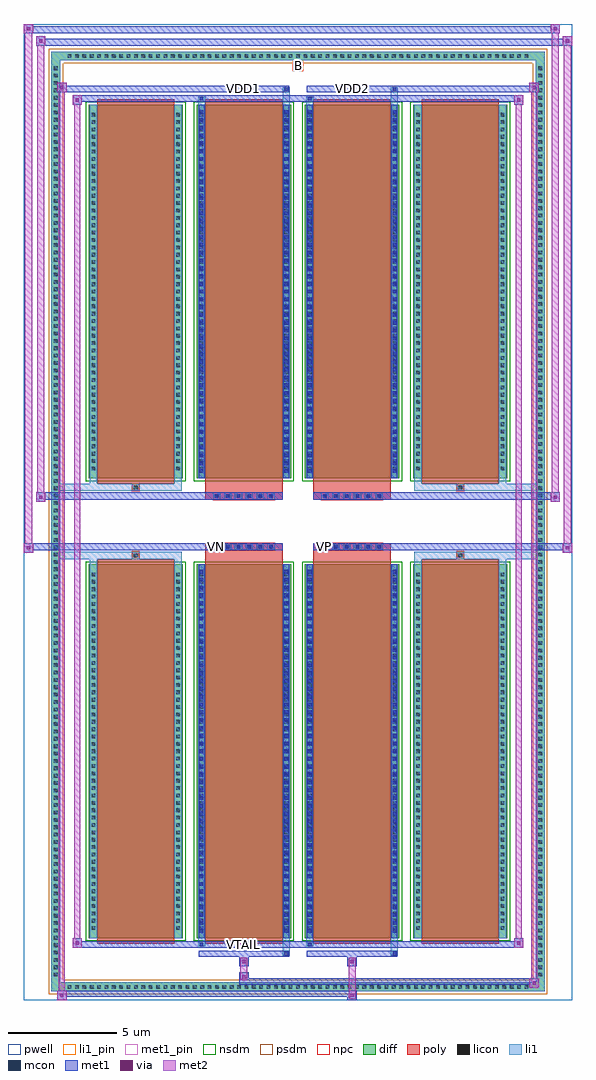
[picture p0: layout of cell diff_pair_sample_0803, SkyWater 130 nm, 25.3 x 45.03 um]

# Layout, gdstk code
import gdstk
lib = gdstk.Library(unit=1e-6, precision=5e-09)
def R(c, l, rs):  # rectangles x0, y0, x1, y1
    for r in rs: c.add(gdstk.rectangle(r[:2], r[2:], *l))
def A(c, l, x, y, w, h, nx, ny, dx, dy):  # array of equal rectangles
    R(c, l, [(x+i*dx, y+j*dy, x+i*dx+w, y+j*dy+h) for i in range(nx) for j in range(ny)])
def P(c, l, *ps):  # polygons
    for p in ps: c.add(gdstk.Polygon(p, *l))
pwell = (64, 44)
diff = (65, 20)
poly = (66, 20)
licon = (66, 44)
li1_pin = (67, 16)
li1 = (67, 20)
mcon = (67, 44)
met1_pin = (68, 16)
met1 = (68, 20)
via = (68, 44)
met2 = (69, 20)
nsdm = (93, 44)
psdm = (94, 20)
npc = (95, 20)

diff_pair_sample_0803 = lib.new_cell('diff_pair_sample_0803')
R(diff_pair_sample_0803, pwell, [(-12.65,-22.08,12.65,22.95), (-9.97,-20.27,-0.01,-0.805), (0.01,-20.27,9.97,-0.805), (-9.97,0.805,-0.01,20.27), (0.01,0.805,9.97,20.27)])
A(diff_pair_sample_0803, diff, -10.745, -21.68, 0.41, 0.41, 63, 2, 0.34, 42.95)
A(diff_pair_sample_0803, diff, -11.38, -21.115, 0.41, 0.41, 1, 124, 0, 0.34)
A(diff_pair_sample_0803, diff, 10.97, -21.115, 0.41, 0.41, 1, 124, 0, 0.34)
A(diff_pair_sample_0803, diff, -9.66, -19.225, 4.35, 17.24, 4, 2, 4.99, 21.21)
R(diff_pair_sample_0803, diff, [(-10.745,-21.68,10.745,-21.27), (-11.38,-21.115,-10.97,21.115), (10.97,-21.115,11.38,21.115), (-10.745,21.27,10.745,21.68)])
P(diff_pair_sample_0803, diff, [(11.38,21.68),(-11.38,21.68),(-11.38,-21.27),(-10.97,-21.27),(-10.97,21.27),(10.97,21.27),(10.97,-21.27),(-10.97,-21.27),(-11.38,-21.27),(-11.38,-21.68),(11.38,-21.68)])
A(diff_pair_sample_0803, poly, -9.27, -19.475, 3.57, 17.74, 4, 2, 4.99, 21.21)
A(diff_pair_sample_0803, poly, -3.91, -1.335, 0.33, 0.33, 6, 2, 0.5, 2.34)
A(diff_pair_sample_0803, poly, 1.08, -1.335, 0.33, 0.33, 6, 2, 0.5, 2.34)
R(diff_pair_sample_0803, poly, [(-7.65,-1.735,-7.32,-1.405), (-7.65,-1.735,-7.32,-1.405), (-4.28,-1.735,-0.71,-1.335), (0.71,-1.735,4.28,-1.335), (7.32,-1.735,7.65,-1.405), (7.32,-1.735,7.65,-1.405), (-4.28,-1.335,-0.71,-1.005), (0.71,-1.335,4.28,-1.005), (-4.28,1.005,-0.71,1.335), (0.71,1.005,4.28,1.335), (-4.28,1.335,-0.71,1.735), (0.71,1.335,4.28,1.735), (-7.65,1.405,-7.32,1.735), (-7.65,1.405,-7.32,1.735), (7.32,1.405,7.65,1.735), (7.32,1.405,7.65,1.735)])
A(diff_pair_sample_0803, licon, -10.625, -21.56, 0.17, 0.17, 63, 2, 0.34, 42.95)
A(diff_pair_sample_0803, licon, -11.26, -20.995, 0.17, 0.17, 1, 124, 0, 0.34)
A(diff_pair_sample_0803, licon, 11.09, -20.995, 0.17, 0.17, 1, 124, 0, 0.34)
A(diff_pair_sample_0803, licon, -9.52, -18.85, 0.17, 0.17, 1, 49, 0, 0.34)
A(diff_pair_sample_0803, licon, -5.62, -18.85, 0.17, 0.17, 1, 49, 0, 0.34)
A(diff_pair_sample_0803, licon, -4.53, -18.85, 0.17, 0.17, 1, 49, 0, 0.34)
A(diff_pair_sample_0803, licon, -0.63, -18.85, 0.17, 0.17, 1, 49, 0, 0.34)
A(diff_pair_sample_0803, licon, 0.46, -18.85, 0.17, 0.17, 1, 49, 0, 0.34)
A(diff_pair_sample_0803, licon, 4.36, -18.85, 0.17, 0.17, 1, 49, 0, 0.34)
A(diff_pair_sample_0803, licon, 5.45, -18.85, 0.17, 0.17, 1, 49, 0, 0.34)
A(diff_pair_sample_0803, licon, 9.35, -18.85, 0.17, 0.17, 1, 49, 0, 0.34)
A(diff_pair_sample_0803, licon, -3.83, -1.255, 0.17, 0.17, 6, 2, 0.5, 2.34)
A(diff_pair_sample_0803, licon, 1.16, -1.255, 0.17, 0.17, 6, 2, 0.5, 2.34)
A(diff_pair_sample_0803, licon, -9.52, 2.36, 0.17, 0.17, 1, 49, 0, 0.34)
A(diff_pair_sample_0803, licon, -5.62, 2.36, 0.17, 0.17, 1, 49, 0, 0.34)
A(diff_pair_sample_0803, licon, -4.53, 2.36, 0.17, 0.17, 1, 49, 0, 0.34)
A(diff_pair_sample_0803, licon, -0.63, 2.36, 0.17, 0.17, 1, 49, 0, 0.34)
A(diff_pair_sample_0803, licon, 0.46, 2.36, 0.17, 0.17, 1, 49, 0, 0.34)
A(diff_pair_sample_0803, licon, 4.36, 2.36, 0.17, 0.17, 1, 49, 0, 0.34)
A(diff_pair_sample_0803, licon, 5.45, 2.36, 0.17, 0.17, 1, 49, 0, 0.34)
A(diff_pair_sample_0803, licon, 9.35, 2.36, 0.17, 0.17, 1, 49, 0, 0.34)
R(diff_pair_sample_0803, licon, [(-7.57,-1.655,-7.4,-1.485), (7.4,-1.655,7.57,-1.485), (-7.57,1.485,-7.4,1.655), (7.4,1.485,7.57,1.655)])
R(diff_pair_sample_0803, li1_pin, [(-0.25,20.77,0.25,21.27)])
A(diff_pair_sample_0803, li1, -10.705, -21.64, 0.33, 0.33, 63, 2, 0.34, 42.95)
A(diff_pair_sample_0803, li1, -11.34, -21.075, 0.33, 0.33, 1, 124, 0, 0.34)
A(diff_pair_sample_0803, li1, 11.01, -21.075, 0.33, 0.33, 1, 124, 0, 0.34)
A(diff_pair_sample_0803, li1, -4.53, -18.97, 0.17, 0.17, 1, 47, 0, 0.36)
A(diff_pair_sample_0803, li1, -0.63, -18.97, 0.17, 0.17, 1, 47, 0, 0.36)
A(diff_pair_sample_0803, li1, 0.46, -18.97, 0.17, 0.17, 1, 47, 0, 0.36)
A(diff_pair_sample_0803, li1, 4.36, -18.97, 0.17, 0.17, 1, 47, 0, 0.36)
A(diff_pair_sample_0803, li1, -9.6, -18.93, 0.33, 0.33, 1, 49, 0, 0.34)
A(diff_pair_sample_0803, li1, -5.7, -18.93, 0.33, 0.33, 1, 49, 0, 0.34)
A(diff_pair_sample_0803, li1, -4.61, -18.93, 0.33, 0.33, 1, 49, 0, 0.34)
A(diff_pair_sample_0803, li1, -0.71, -18.93, 0.33, 0.33, 1, 49, 0, 0.34)
A(diff_pair_sample_0803, li1, 0.38, -18.93, 0.33, 0.33, 1, 49, 0, 0.34)
A(diff_pair_sample_0803, li1, 4.28, -18.93, 0.33, 0.33, 1, 49, 0, 0.34)
A(diff_pair_sample_0803, li1, 5.37, -18.93, 0.33, 0.33, 1, 49, 0, 0.34)
A(diff_pair_sample_0803, li1, 9.27, -18.93, 0.33, 0.33, 1, 49, 0, 0.34)
A(diff_pair_sample_0803, li1, -3.91, -1.335, 0.33, 0.33, 6, 2, 0.5, 2.34)
A(diff_pair_sample_0803, li1, 1.08, -1.335, 0.33, 0.33, 6, 2, 0.5, 2.34)
A(diff_pair_sample_0803, li1, -4.53, 2.24, 0.17, 0.17, 1, 47, 0, 0.36)
A(diff_pair_sample_0803, li1, -0.63, 2.24, 0.17, 0.17, 1, 47, 0, 0.36)
A(diff_pair_sample_0803, li1, 0.46, 2.24, 0.17, 0.17, 1, 47, 0, 0.36)
A(diff_pair_sample_0803, li1, 4.36, 2.24, 0.17, 0.17, 1, 47, 0, 0.36)
A(diff_pair_sample_0803, li1, -9.6, 2.28, 0.33, 0.33, 1, 49, 0, 0.34)
A(diff_pair_sample_0803, li1, -5.7, 2.28, 0.33, 0.33, 1, 49, 0, 0.34)
A(diff_pair_sample_0803, li1, -4.61, 2.28, 0.33, 0.33, 1, 49, 0, 0.34)
A(diff_pair_sample_0803, li1, -0.71, 2.28, 0.33, 0.33, 1, 49, 0, 0.34)
A(diff_pair_sample_0803, li1, 0.38, 2.28, 0.33, 0.33, 1, 49, 0, 0.34)
A(diff_pair_sample_0803, li1, 4.28, 2.28, 0.33, 0.33, 1, 49, 0, 0.34)
A(diff_pair_sample_0803, li1, 5.37, 2.28, 0.33, 0.33, 1, 49, 0, 0.34)
A(diff_pair_sample_0803, li1, 9.27, 2.28, 0.33, 0.33, 1, 49, 0, 0.34)
R(diff_pair_sample_0803, li1, [(-11.38,-21.68,-10.97,-21.27), (-11.38,-21.68,-10.97,-21.27), (-10.97,-21.68,10.97,-21.27), (10.97,-21.68,11.38,-21.27), (10.97,-21.68,11.38,-21.27), (-11.38,-21.27,-10.97,21.27), (10.97,-21.27,11.38,21.27), (-0.71,-20.03,-0.38,-19.225), (-0.63,-20.03,-0.46,-19.86), (4.28,-20.03,4.61,-19.225), (4.36,-20.03,4.53,-19.86), (-4.61,-19.6,-4.28,-19.225), (-4.53,-19.6,-4.36,-19.43), (0.38,-19.6,0.71,-19.225), (0.46,-19.6,0.63,-19.43), (-9.6,-19.225,-9.27,-1.985), (-5.7,-19.225,-5.37,-1.985), (-4.61,-19.225,-4.28,-1.985), (-0.71,-19.225,-0.38,-1.985), (0.38,-19.225,0.71,-1.985), (4.28,-19.225,4.61,-1.985), (5.37,-19.225,5.7,-1.985), (9.27,-19.225,9.6,-1.985), (-4.53,-18.97,-4.36,-2.24), (-0.63,-18.97,-0.46,-2.24), (0.46,-18.97,0.63,-2.24), (4.36,-18.97,4.53,-2.24), (-9.6,-1.985,-9.27,-1.405), (-5.7,-1.985,-5.37,-1.405), (5.37,-1.985,5.7,-1.405), (9.27,-1.985,9.6,-1.405), (-11.38,-1.735,-7.65,-1.405), (-9.6,-1.735,-7.65,-1.405), (-7.65,-1.735,-7.32,-1.405), (-7.32,-1.735,-5.37,-1.405), (5.37,-1.735,7.32,-1.405), (7.32,-1.735,7.65,-1.405), (7.32,-1.735,11.38,-1.405), (7.65,-1.735,9.6,-1.405), (-11.38,1.405,-7.65,1.735), (-9.6,1.405,-7.65,1.735), (-9.6,1.405,-9.27,1.985), (-7.65,1.405,-7.32,1.735), (-7.32,1.405,-5.37,1.735), (-5.7,1.405,-5.37,1.985), (5.37,1.405,7.32,1.735), (5.37,1.405,5.7,1.985), (7.32,1.405,7.65,1.735), (7.32,1.405,11.38,1.735), (7.65,1.405,9.6,1.735), (9.27,1.405,9.6,1.985), (-9.6,1.985,-9.27,19.225), (-5.7,1.985,-5.37,19.225), (-4.61,1.985,-4.28,19.225), (-0.71,1.985,-0.38,19.225), (0.38,1.985,0.71,19.225), (4.28,1.985,4.61,19.225), (5.37,1.985,5.7,19.225), (9.27,1.985,9.6,19.225), (-4.53,2.24,-4.36,18.97), (-0.63,2.24,-0.46,18.97), (0.46,2.24,0.63,18.97), (4.36,2.24,4.53,18.97), (-4.61,19.225,-4.28,19.6), (-0.71,19.225,-0.38,20.03), (0.38,19.225,0.71,19.6), (4.28,19.225,4.61,20.03), (-4.53,19.43,-4.36,19.6), (0.46,19.43,0.63,19.6), (-0.63,19.86,-0.46,20.03), (4.36,19.86,4.53,20.03), (-11.38,21.27,-10.97,21.68), (-11.38,21.27,-10.97,21.68), (-10.97,21.27,10.97,21.68), (10.97,21.27,11.38,21.68), (10.97,21.27,11.38,21.68)])
A(diff_pair_sample_0803, mcon, -4.53, -18.97, 0.17, 0.17, 1, 47, 0, 0.36)
A(diff_pair_sample_0803, mcon, -0.63, -18.97, 0.17, 0.17, 1, 47, 0, 0.36)
A(diff_pair_sample_0803, mcon, 0.46, -18.97, 0.17, 0.17, 1, 47, 0, 0.36)
A(diff_pair_sample_0803, mcon, 4.36, -18.97, 0.17, 0.17, 1, 47, 0, 0.36)
A(diff_pair_sample_0803, mcon, -3.83, -1.255, 0.17, 0.17, 6, 2, 0.5, 2.34)
A(diff_pair_sample_0803, mcon, 1.16, -1.255, 0.17, 0.17, 6, 2, 0.5, 2.34)
A(diff_pair_sample_0803, mcon, -4.53, 2.24, 0.17, 0.17, 1, 47, 0, 0.36)
A(diff_pair_sample_0803, mcon, -0.63, 2.24, 0.17, 0.17, 1, 47, 0, 0.36)
A(diff_pair_sample_0803, mcon, 0.46, 2.24, 0.17, 0.17, 1, 47, 0, 0.36)
A(diff_pair_sample_0803, mcon, 4.36, 2.24, 0.17, 0.17, 1, 47, 0, 0.36)
R(diff_pair_sample_0803, mcon, [(-0.63,-20.03,-0.46,-19.86), (4.36,-20.03,4.53,-19.86), (-4.53,-19.6,-4.36,-19.43), (0.46,-19.6,0.63,-19.43), (-4.53,19.43,-4.36,19.6), (0.46,19.43,0.63,19.6), (-0.63,19.86,-0.46,20.03), (4.36,19.86,4.53,20.03)])
R(diff_pair_sample_0803, met1_pin, [(-2.63,-19.64,-2.36,-19.37), (-3.88,-1.295,-3.61,-1.025), (1.11,-1.295,1.38,-1.025), (-2.63,19.82,-2.36,20.09), (2.36,19.82,2.63,20.09)])
A(diff_pair_sample_0803, met1, -4.59, -19.03, 0.29, 0.29, 1, 47, 0, 0.36)
A(diff_pair_sample_0803, met1, -0.69, -19.03, 0.29, 0.29, 1, 47, 0, 0.36)
A(diff_pair_sample_0803, met1, 0.4, -19.03, 0.29, 0.29, 1, 47, 0, 0.36)
A(diff_pair_sample_0803, met1, 4.3, -19.03, 0.29, 0.29, 1, 47, 0, 0.36)
A(diff_pair_sample_0803, met1, -3.89, -1.315, 0.29, 0.29, 6, 2, 0.5, 2.34)
A(diff_pair_sample_0803, met1, 1.1, -1.315, 0.29, 0.29, 6, 2, 0.5, 2.34)
A(diff_pair_sample_0803, met1, -4.59, 2.18, 0.29, 0.29, 1, 47, 0, 0.36)
A(diff_pair_sample_0803, met1, -0.69, 2.18, 0.29, 0.29, 1, 47, 0, 0.36)
A(diff_pair_sample_0803, met1, 0.4, 2.18, 0.29, 0.29, 1, 47, 0, 0.36)
A(diff_pair_sample_0803, met1, 4.3, 2.18, 0.29, 0.29, 1, 47, 0, 0.36)
R(diff_pair_sample_0803, met1, [(-11.11,-22.08,-10.68,-21.65), (2.28,-22.08,2.71,-21.65), (-11.11,-21.94,2.71,-21.65), (10.68,-21.51,11.11,-21.08), (-2.71,-21.37,11.11,-21.08), (-2.71,-21.23,-2.28,-20.8), (-2.71,-20.52,-2.28,-20.09), (2.28,-20.52,2.71,-20.09), (-4.59,-20.09,-0.4,-19.8), (-0.69,-20.09,-0.4,-19.8), (0.4,-20.09,4.59,-19.8), (4.3,-20.09,4.59,-19.8), (-10.4,-19.66,-9.97,-19.23), (-10.4,-19.66,-4.59,-19.37), (-4.59,-19.66,-4.3,-19.37), (-4.59,-19.66,-0.4,-19.37), (-0.4,-19.66,0.4,-19.37), (0.4,-19.66,0.69,-19.37), (0.4,-19.66,4.59,-19.37), (4.59,-19.66,10.4,-19.37), (9.97,-19.66,10.4,-19.23), (-4.59,-19.225,-4.3,-1.985), (-0.69,-19.225,-0.4,-1.985), (0.4,-19.225,0.69,-1.985), (4.3,-19.225,4.59,-1.985), (-12.65,-1.435,-12.22,-1.005), (12.22,-1.435,12.65,-1.005), (-12.65,-1.335,-0.71,-1.005), (-4.28,-1.335,-0.71,-1.005), (0.71,-1.335,4.28,-1.005), (0.71,-1.335,12.65,-1.005), (-12.08,0.905,-11.65,1.335), (11.65,0.905,12.08,1.335), (-12.08,1.005,-4.28,1.335), (-4.28,1.005,-0.71,1.335), (0.71,1.005,4.28,1.335), (4.28,1.005,12.08,1.335), (-4.59,1.985,-4.3,19.225), (-0.69,1.985,-0.4,19.225), (0.4,1.985,0.69,19.225), (4.3,1.985,4.59,19.225), (-10.4,19.23,-9.97,19.66), (9.97,19.23,10.4,19.66), (-10.4,19.37,-4.59,19.66), (-4.59,19.37,-4.3,19.66), (-4.59,19.37,-0.4,19.66), (-0.4,19.37,0.4,19.66), (0.4,19.37,0.69,19.66), (0.4,19.37,4.59,19.66), (4.59,19.37,10.4,19.66), (-11.11,19.8,-10.68,20.23), (-11.11,19.8,-4.59,20.09), (-4.59,19.8,-0.4,20.09), (-0.69,19.8,-0.4,20.09), (0.4,19.8,4.59,20.09), (4.3,19.8,4.59,20.09), (4.59,19.8,11.11,20.09), (10.68,19.8,11.11,20.23), (-12.08,21.95,-11.65,22.38), (-12.08,21.95,-9.97,22.28), (-9.97,21.95,9.97,22.28), (9.97,21.95,12.65,22.28), (12.22,21.95,12.65,22.38), (-12.65,22.52,-12.22,22.95), (-12.65,22.52,-9.97,22.85), (-9.97,22.52,9.97,22.85), (9.97,22.52,12.08,22.85), (11.65,22.52,12.08,22.95)])
R(diff_pair_sample_0803, via, [(-10.97,-21.94,-10.82,-21.79), (2.42,-21.94,2.57,-21.79), (10.82,-21.37,10.97,-21.22), (-2.57,-21.09,-2.42,-20.94), (-2.57,-20.38,-2.42,-20.23), (2.42,-20.38,2.57,-20.23), (-10.26,-19.52,-10.11,-19.37), (10.11,-19.52,10.26,-19.37), (-12.51,-1.295,-12.36,-1.145), (12.36,-1.295,12.51,-1.145), (-11.94,1.045,-11.79,1.195), (11.79,1.045,11.94,1.195), (-10.26,19.37,-10.11,19.52), (10.11,19.37,10.26,19.52), (-10.97,19.94,-10.82,20.09), (10.82,19.94,10.97,20.09), (-11.94,22.09,-11.79,22.24), (12.36,22.09,12.51,22.24), (-12.51,22.66,-12.36,22.81), (11.79,22.66,11.94,22.81)])
R(diff_pair_sample_0803, met2, [(-11.11,-22.08,-10.68,-21.65), (-11.04,-22.08,-10.75,20.23), (-10.75,-22.08,-10.68,-21.65), (-11.06,-22.03,-10.73,-21.7), (2.33,-22.03,2.66,-21.7), (2.33,-21.7,2.66,-20.47), (10.68,-21.51,11.11,-21.08), (10.75,-21.51,11.04,20.23), (11.04,-21.51,11.11,-21.08), (10.73,-21.46,11.06,-21.13), (-2.66,-21.18,-2.33,-20.85), (-2.66,-20.85,-2.33,-20.47), (-2.66,-20.47,-2.33,-20.14), (2.33,-20.47,2.66,-20.14), (-10.4,-19.66,-9.97,-19.23), (-10.33,-19.66,-10.04,19.66), (-10.04,-19.66,-9.97,-19.23), (9.97,-19.66,10.4,-19.23), (10.04,-19.66,10.33,19.66), (10.33,-19.66,10.4,-19.23), (-10.35,-19.61,-10.02,-19.28), (10.02,-19.61,10.35,-19.28), (-12.65,-1.435,-12.22,-1.005), (-12.6,-1.435,-12.27,22.95), (-12.27,-1.435,-12.22,-1.005), (12.22,-1.435,12.65,-1.005), (12.27,-1.435,12.6,22.38), (12.6,-1.435,12.65,-1.005), (-12.6,-1.385,-12.27,-1.055), (12.27,-1.385,12.6,-1.055), (-12.08,0.905,-11.65,1.335), (-12.03,0.905,-11.7,22.38), (-11.7,0.905,-11.65,1.335), (11.65,0.905,12.08,1.335), (11.7,0.905,12.03,22.95), (12.03,0.905,12.08,1.335), (-12.03,0.955,-11.7,1.285), (11.7,0.955,12.03,1.285), (-10.4,19.23,-9.97,19.66), (-10.04,19.23,-9.97,19.66), (9.97,19.23,10.4,19.66), (10.33,19.23,10.4,19.66), (-10.35,19.28,-10.02,19.61), (10.02,19.28,10.35,19.61), (-11.11,19.8,-10.68,20.23), (-10.75,19.8,-10.68,20.23), (10.68,19.8,11.11,20.23), (11.04,19.8,11.11,20.23), (-11.06,19.85,-10.73,20.18), (10.73,19.85,11.06,20.18), (-12.08,21.95,-11.65,22.38), (-11.7,21.95,-11.65,22.38), (12.22,21.95,12.65,22.38), (12.6,21.95,12.65,22.38), (-12.03,22,-11.7,22.33), (12.27,22,12.6,22.33), (-12.65,22.52,-12.22,22.95), (-12.27,22.52,-12.22,22.95), (11.65,22.52,12.08,22.95), (12.03,22.52,12.08,22.95), (-12.6,22.57,-12.27,22.9), (11.7,22.57,12.03,22.9)])
A(diff_pair_sample_0803, nsdm, -9.79, -19.355, 4.61, 17.5, 4, 2, 4.99, 21.21)
P(diff_pair_sample_0803, psdm, [(11.51,21.81),(-11.51,21.81),(-11.51,-21.14),(-10.84,-21.14),(-10.84,21.14),(10.84,21.14),(10.84,-21.14),(-10.84,-21.14),(-11.51,-21.14),(-11.51,-21.81),(11.51,-21.81)])
A(diff_pair_sample_0803, npc, -3.93, -1.355, 0.37, 0.37, 6, 2, 0.5, 2.34)
A(diff_pair_sample_0803, npc, 1.06, -1.355, 0.37, 0.37, 6, 2, 0.5, 2.34)
R(diff_pair_sample_0803, npc, [(-7.67,-1.755,-7.3,-1.385), (7.3,-1.755,7.67,-1.385), (-3.93,-1.355,-3.06,-0.985), (-3.93,-1.355,-3.06,-0.985), (-3.43,-1.355,-2.56,-0.985), (-3.43,-1.355,-2.56,-0.985), (-2.93,-1.355,-2.06,-0.985), (-2.93,-1.355,-2.06,-0.985), (-2.43,-1.355,-1.56,-0.985), (-2.43,-1.355,-1.56,-0.985), (-1.93,-1.355,-1.06,-0.985), (-1.93,-1.355,-1.06,-0.985), (1.06,-1.355,1.93,-0.985), (1.06,-1.355,1.93,-0.985), (1.56,-1.355,2.43,-0.985), (1.56,-1.355,2.43,-0.985), (2.06,-1.355,2.93,-0.985), (2.06,-1.355,2.93,-0.985), (2.56,-1.355,3.43,-0.985), (2.56,-1.355,3.43,-0.985), (3.06,-1.355,3.93,-0.985), (3.06,-1.355,3.93,-0.985), (-3.93,0.985,-3.06,1.355), (-3.93,0.985,-3.06,1.355), (-3.43,0.985,-2.56,1.355), (-3.43,0.985,-2.56,1.355), (-2.93,0.985,-2.06,1.355), (-2.93,0.985,-2.06,1.355), (-2.43,0.985,-1.56,1.355), (-2.43,0.985,-1.56,1.355), (-1.93,0.985,-1.06,1.355), (-1.93,0.985,-1.06,1.355), (1.06,0.985,1.93,1.355), (1.06,0.985,1.93,1.355), (1.56,0.985,2.43,1.355), (1.56,0.985,2.43,1.355), (2.06,0.985,2.93,1.355), (2.06,0.985,2.93,1.355), (2.56,0.985,3.43,1.355), (2.56,0.985,3.43,1.355), (3.06,0.985,3.93,1.355), (3.06,0.985,3.93,1.355), (-7.67,1.385,-7.3,1.755), (7.3,1.385,7.67,1.755)])
diff_pair_sample_0803.add(gdstk.Label('VTAIL', (-2.495,-19.505), layer=68, texttype=5))
diff_pair_sample_0803.add(gdstk.Label('VN', (-3.745,-1.16), layer=68, texttype=5))
diff_pair_sample_0803.add(gdstk.Label('VP', (1.245,-1.16), layer=68, texttype=5))
diff_pair_sample_0803.add(gdstk.Label('B', (0,21.02), layer=67, texttype=5))
diff_pair_sample_0803.add(gdstk.Label('VDD2', (2.495,19.955), layer=68, texttype=5))
diff_pair_sample_0803.add(gdstk.Label('VDD1', (-2.495,19.955), layer=68, texttype=5))

lib.write_gds('diff_pair_sample_0803.gds')
